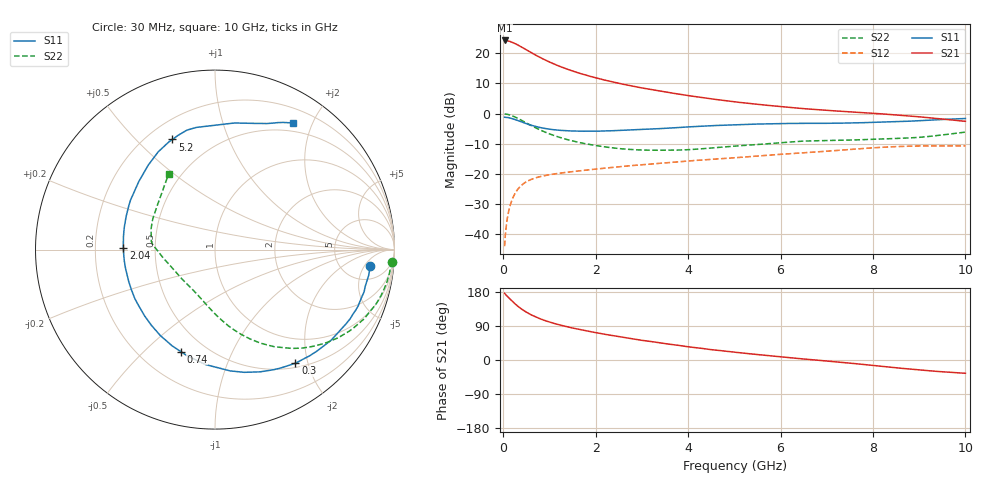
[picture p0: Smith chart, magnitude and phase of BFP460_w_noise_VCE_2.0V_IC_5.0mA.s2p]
! (c) 2016  Infineon Technologies AG, Munich
! Infineon Technologies  Discrete & RF Semiconductors
! BFP460
! VCE =  2.0 V,  IC =  5.0 mA
! Common Emitter S-Parameters:  Jan 2016
# GHz  S  MA  R  50
!  f  S11  S21  S12  S22
! GHz  MAG  ANG  MAG  ANG  MAG  ANG  MAG  ANG
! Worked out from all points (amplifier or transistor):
!   229 points, 30 MHz to 10 GHz, reference 50 ohm
!   highest |S21| = 24.3 dB at 30 MHz (marker M1)
!   |S21| within 3 dB of that: start of sweep to 487.5 MHz
!   unconditionally stable (mu >= 1): 3.074 GHz to 8.247 GHz
!   at 280 MHz: K = 0.16, MSG = 24.5 dB, |S12| = -25.9 dB
!   at 1.78 GHz: K = 0.76, MSG = 15.8 dB, |S12| = -18.8 dB
!   at 10 GHz: K = 0.96, MSG = 4.1 dB, |S12| = -10.7 dB
!   lowest NFmin = 0.77 dB at 100 MHz
!   S11 on the Smith chart (normalised r, x): 30 MHz: 9, -7; 300 MHz: 0.57, -1.80; 740 MHz: 0.37, -0.65; 2.04 GHz: 0.32, +0.01; 5.2 GHz: 0.30, +0.64; 10 GHz: 0.38, +1.72
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0.03  0.8692 -6.0  16.33 176.3  0.0063 86.0  0.9858 -3.9
0.05  0.8683 -9.5  16.22 172.7  0.0105 84.1  0.9826 -6.5
0.07  0.8615 -13.8  16.28 170.2  0.0145 82.7  0.9782 -9.1
0.155  0.8381 -29.9  15.59 159.6  0.0309 73.8  0.9415 -19.7
0.22  0.8095 -41.4  14.92 152.1  0.0418 67.9  0.9008 -27.1
0.3  0.7755 -54.7  13.95 143.5  0.0535 61.6  0.8439 -35.6
0.36  0.7447 -64.0  13.16 137.7  0.0607 57.4  0.7983 -41.1
0.45  0.7029 -76.6  12.02 130.0  0.0698 52.1  0.7326 -48.5
0.6  0.6427 -94.7  10.31 119.4  0.0805 45.5  0.6351 -58.5
0.74  0.5995 -108.5  8.989 111.7  0.0874 41.4  0.5611 -65.8
0.9  0.5676 -122.4  7.787 104.2  0.0935 37.9  0.4939 -72.9
1.1  0.5392 -136.5  6.63 96.5  0.0994 35.2  0.4316 -80.0
1.4  0.5175 -153.8  5.397 87.2  0.1065 32.9  0.3669 -88.6
1.7  0.5094 -167.9  4.541 79.3  0.1131 31.6  0.3244 -95.9
2.04  0.5106 178.7  3.849 71.4  0.1206 30.7  0.2917 -103.6
2.62  0.5281 159.9  3.037 59.2  0.1334 29.4  0.2576 -117.5
3.4  0.563 140.4  2.353 45.1  0.1504 27.4  0.246 -136.3
5.1  0.6549 112.3  1.536 19.4  0.1869 22.7  0.2915 -170.6
5.2  0.6581 111.1  1.507 18.2  0.1895 22.4  0.295 -171.8
6.8  0.6882 95.8  1.159 -0.5  0.2314 15.9  0.3542 173.6
8.4  0.7273 75.4  0.961 -19.3  0.2807 5.0  0.3834 155.8
10  0.8279 58.5  0.742 -35.1  0.2905 -6.6  0.4922 121.7
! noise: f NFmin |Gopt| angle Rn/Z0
0.1  0.77  0.36  1  0.17
0.45  0.78  0.33  16  0.17
0.9  0.8  0.34  31  0.17
1.9  1.06  0.17  97  0.13
3.5  1.24  0.33  -153  0.1
